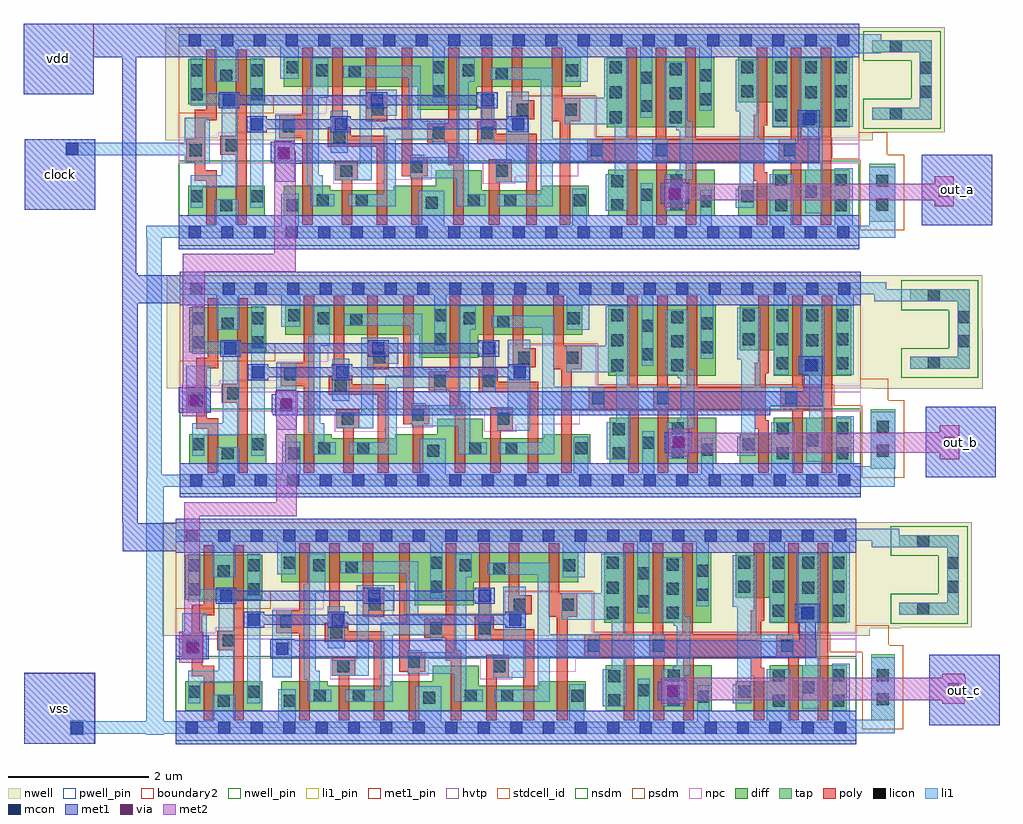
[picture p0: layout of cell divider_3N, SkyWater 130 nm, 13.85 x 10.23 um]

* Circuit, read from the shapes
.subckt divider_3N clock out_a out_b out_c vdd vss
XM1 vss sky130_fd_sc_hd__dfxbp_2_1/CLK n1 vss sky130_fd_pr__nfet_01v8 w=0.42 l=0.15
XM2 vss clock n2 vss sky130_fd_pr__nfet_01v8 w=0.42 l=0.15
XM3 vss sky130_fd_sc_hd__dfxbp_2_2/CLK n3 vss sky130_fd_pr__nfet_01v8 w=0.42 l=0.15
XM4 n4 n1 vss vss sky130_fd_pr__nfet_01v8 w=0.42 l=0.15
XM5 n5 n2 vss vss sky130_fd_pr__nfet_01v8 w=0.42 l=0.15
XM6 n6 n3 vss vss sky130_fd_pr__nfet_01v8 w=0.42 l=0.15
XM7 n7 sky130_fd_sc_hd__dfxbp_2_1/D vss vss sky130_fd_pr__nfet_01v8 w=0.42 l=0.15
XM8 n8 sky130_fd_sc_hd__dfxbp_2_2/CLK vss vss sky130_fd_pr__nfet_01v8 w=0.42 l=0.15
XM9 n9 sky130_fd_sc_hd__dfxbp_2_1/CLK vss vss sky130_fd_pr__nfet_01v8 w=0.42 l=0.15
XM10 n10 n1 n7 vss sky130_fd_pr__nfet_01v8 w=0.36 l=0.15
XM11 n11 n2 n8 vss sky130_fd_pr__nfet_01v8 w=0.36 l=0.15
XM12 n12 n3 n9 vss sky130_fd_pr__nfet_01v8 w=0.36 l=0.15
XM13 n13 n4 n10 vss sky130_fd_pr__nfet_01v8 w=0.36 l=0.15
XM14 n14 n5 n11 vss sky130_fd_pr__nfet_01v8 w=0.36 l=0.15
XM15 n15 n6 n12 vss sky130_fd_pr__nfet_01v8 w=0.36 l=0.15
XM16 vss n16 n13 vss sky130_fd_pr__nfet_01v8 w=0.42 l=0.15
XM17 vss n17 n14 vss sky130_fd_pr__nfet_01v8 w=0.42 l=0.15
XM18 vss n18 n15 vss sky130_fd_pr__nfet_01v8 w=0.42 l=0.15
XM19 n16 n10 vss vss sky130_fd_pr__nfet_01v8 w=0.64 l=0.15
XM20 n17 n11 vss vss sky130_fd_pr__nfet_01v8 w=0.64 l=0.15
XM21 n18 n12 vss vss sky130_fd_pr__nfet_01v8 w=0.64 l=0.15
XM22 n19 n4 n16 vss sky130_fd_pr__nfet_01v8 w=0.36 l=0.15
XM23 n20 n5 n17 vss sky130_fd_pr__nfet_01v8 w=0.36 l=0.15
XM24 n21 n6 n18 vss sky130_fd_pr__nfet_01v8 w=0.36 l=0.15
XM25 n22 n1 n19 vss sky130_fd_pr__nfet_01v8 w=0.36 l=0.15
XM26 n23 n2 n20 vss sky130_fd_pr__nfet_01v8 w=0.36 l=0.15
XM27 n24 n3 n21 vss sky130_fd_pr__nfet_01v8 w=0.36 l=0.15
XM28 vss n25 n22 vss sky130_fd_pr__nfet_01v8 w=0.42 l=0.15
XM29 vss n26 n23 vss sky130_fd_pr__nfet_01v8 w=0.42 l=0.15
XM30 vss n27 n24 vss sky130_fd_pr__nfet_01v8 w=0.42 l=0.15
XM31 vss n19 n25 vss sky130_fd_pr__nfet_01v8 w=0.65 l=0.15
XM32 vss n20 n26 vss sky130_fd_pr__nfet_01v8 w=0.65 l=0.15
XM33 vss n21 n27 vss sky130_fd_pr__nfet_01v8 w=0.65 l=0.15
XM34 out_c n25 vss vss sky130_fd_pr__nfet_01v8 w=0.65 l=0.15 m=2
XM35 out_a n26 vss vss sky130_fd_pr__nfet_01v8 w=0.65 l=0.15 m=2
XM36 out_b n27 vss vss sky130_fd_pr__nfet_01v8 w=0.65 l=0.15 m=2
XM37 vss n25 n28 vss sky130_fd_pr__nfet_01v8 w=0.42 l=0.15
XM38 vss n26 n29 vss sky130_fd_pr__nfet_01v8 w=0.42 l=0.15
XM39 vss n27 n30 vss sky130_fd_pr__nfet_01v8 w=0.42 l=0.15
XM40 sky130_fd_sc_hd__dfxbp_2_1/D n28 vss vss sky130_fd_pr__nfet_01v8 w=0.65 l=0.15 m=2
XM41 sky130_fd_sc_hd__dfxbp_2_2/CLK n29 vss vss sky130_fd_pr__nfet_01v8 w=0.65 l=0.15 m=2
XM42 sky130_fd_sc_hd__dfxbp_2_1/CLK n30 vss vss sky130_fd_pr__nfet_01v8 w=0.65 l=0.15 m=2
XM43 vdd sky130_fd_sc_hd__dfxbp_2_1/CLK n1 vdd sky130_fd_pr__pfet_01v8_hvt w=0.64 l=0.15
XM44 vdd clock n2 vdd sky130_fd_pr__pfet_01v8_hvt w=0.64 l=0.15
XM45 vdd sky130_fd_sc_hd__dfxbp_2_2/CLK n3 vdd sky130_fd_pr__pfet_01v8_hvt w=0.64 l=0.15
XM46 n4 n1 vdd vdd sky130_fd_pr__pfet_01v8_hvt w=0.64 l=0.15
XM47 n5 n2 vdd vdd sky130_fd_pr__pfet_01v8_hvt w=0.64 l=0.15
XM48 n6 n3 vdd vdd sky130_fd_pr__pfet_01v8_hvt w=0.64 l=0.15
XM49 n7 sky130_fd_sc_hd__dfxbp_2_1/D vdd vdd sky130_fd_pr__pfet_01v8_hvt w=0.42 l=0.15
XM50 n8 sky130_fd_sc_hd__dfxbp_2_2/CLK vdd vdd sky130_fd_pr__pfet_01v8_hvt w=0.42 l=0.15
XM51 n9 sky130_fd_sc_hd__dfxbp_2_1/CLK vdd vdd sky130_fd_pr__pfet_01v8_hvt w=0.42 l=0.15
XM52 n10 n4 n7 vdd sky130_fd_pr__pfet_01v8_hvt w=0.42 l=0.15
XM53 n11 n5 n8 vdd sky130_fd_pr__pfet_01v8_hvt w=0.42 l=0.15
XM54 n12 n6 n9 vdd sky130_fd_pr__pfet_01v8_hvt w=0.42 l=0.15
XM55 n31 n1 n10 vdd sky130_fd_pr__pfet_01v8_hvt w=0.42 l=0.15
XM56 n32 n2 n11 vdd sky130_fd_pr__pfet_01v8_hvt w=0.42 l=0.15
XM57 n33 n3 n12 vdd sky130_fd_pr__pfet_01v8_hvt w=0.42 l=0.15
XM58 vdd n16 n31 vdd sky130_fd_pr__pfet_01v8_hvt w=0.42 l=0.15
XM59 vdd n17 n32 vdd sky130_fd_pr__pfet_01v8_hvt w=0.42 l=0.15
XM60 vdd n18 n33 vdd sky130_fd_pr__pfet_01v8_hvt w=0.42 l=0.15
XM61 n16 n10 vdd vdd sky130_fd_pr__pfet_01v8_hvt w=0.75 l=0.15
XM62 n17 n11 vdd vdd sky130_fd_pr__pfet_01v8_hvt w=0.75 l=0.15
XM63 n18 n12 vdd vdd sky130_fd_pr__pfet_01v8_hvt w=0.75 l=0.15
XM64 n19 n1 n16 vdd sky130_fd_pr__pfet_01v8_hvt w=0.42 l=0.15
XM65 n20 n2 n17 vdd sky130_fd_pr__pfet_01v8_hvt w=0.42 l=0.15
XM66 n21 n3 n18 vdd sky130_fd_pr__pfet_01v8_hvt w=0.42 l=0.15
XM67 n34 n4 n19 vdd sky130_fd_pr__pfet_01v8_hvt w=0.42 l=0.15
XM68 n35 n5 n20 vdd sky130_fd_pr__pfet_01v8_hvt w=0.42 l=0.15
XM69 n36 n6 n21 vdd sky130_fd_pr__pfet_01v8_hvt w=0.42 l=0.15
XM70 vdd n25 n34 vdd sky130_fd_pr__pfet_01v8_hvt w=0.42 l=0.15
XM71 vdd n26 n35 vdd sky130_fd_pr__pfet_01v8_hvt w=0.42 l=0.15
XM72 vdd n27 n36 vdd sky130_fd_pr__pfet_01v8_hvt w=0.42 l=0.15
XM73 vdd n19 n25 vdd sky130_fd_pr__pfet_01v8_hvt w=1 l=0.15
XM74 vdd n20 n26 vdd sky130_fd_pr__pfet_01v8_hvt w=1 l=0.15
XM75 vdd n21 n27 vdd sky130_fd_pr__pfet_01v8_hvt w=1 l=0.15
XM76 out_c n25 vdd vdd sky130_fd_pr__pfet_01v8_hvt w=1 l=0.15 m=2
XM77 out_a n26 vdd vdd sky130_fd_pr__pfet_01v8_hvt w=1 l=0.15 m=2
XM78 out_b n27 vdd vdd sky130_fd_pr__pfet_01v8_hvt w=1 l=0.15 m=2
XM79 vdd n25 n28 vdd sky130_fd_pr__pfet_01v8_hvt w=0.64 l=0.15
XM80 vdd n26 n29 vdd sky130_fd_pr__pfet_01v8_hvt w=0.64 l=0.15
XM81 vdd n27 n30 vdd sky130_fd_pr__pfet_01v8_hvt w=0.64 l=0.15
XM82 sky130_fd_sc_hd__dfxbp_2_1/D n28 vdd vdd sky130_fd_pr__pfet_01v8_hvt w=1 l=0.15 m=2
XM83 sky130_fd_sc_hd__dfxbp_2_2/CLK n29 vdd vdd sky130_fd_pr__pfet_01v8_hvt w=1 l=0.15 m=2
XM84 sky130_fd_sc_hd__dfxbp_2_1/CLK n30 vdd vdd sky130_fd_pr__pfet_01v8_hvt w=1 l=0.15 m=2
.ends

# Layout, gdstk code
import gdstk
lib = gdstk.Library(unit=1e-6, precision=1e-09)
def R(c, l, rs):  # rectangles x0, y0, x1, y1
    for r in rs: c.add(gdstk.rectangle(r[:2], r[2:], *l))
def A(c, l, x, y, w, h, nx, ny, dx, dy):  # array of equal rectangles
    R(c, l, [(x+i*dx, y+j*dy, x+i*dx+w, y+j*dy+h) for i in range(nx) for j in range(ny)])
def P(c, l, *ps):  # polygons
    for p in ps: c.add(gdstk.Polygon(p, *l))
nwell_pin = (64, 16)
nwell = (64, 20)
diff = (65, 20)
tap = (65, 44)
poly = (66, 20)
licon = (66, 44)
li1_pin = (67, 16)
li1 = (67, 20)
mcon = (67, 44)
met1_pin = (68, 16)
met1 = (68, 20)
via = (68, 44)
met2 = (69, 20)
hvtp = (78, 44)
stdcell_id = (81, 4)
nsdm = (93, 44)
psdm = (94, 20)
npc = (95, 20)
pwell_pin = (122, 16)
boundary2 = (236, 0)

sky130_fd_sc_hd__dfxbp_2 = lib.new_cell('sky130_fd_sc_hd__dfxbp_2')
R(sky130_fd_sc_hd__dfxbp_2, nwell_pin, [(0.145,2.635,0.315,2.805), (0.145,2.635,0.315,2.805)])
R(sky130_fd_sc_hd__dfxbp_2, nwell, [(-0.19,1.305,9.85,2.91)])
R(sky130_fd_sc_hd__dfxbp_2, diff, [(0.135,0.235,1.225,0.655), (6.1,0.235,7.61,0.885), (6.08,1.485,7.6,2.485), (0.135,1.815,1.225,2.455)])
P(sky130_fd_sc_hd__dfxbp_2, diff, [(5.71,2.485),(1.495,2.485),(1.495,2.065),(3.395,2.065),(3.395,1.735),(4.23,1.735),(4.23,2.065),(5.71,2.065)],
  [(5.82,0.655),(5.16,0.655),(5.16,0.595),(4.3,0.595),(4.3,0.875),(3.65,0.875),(3.65,0.655),(3.055,0.655),(3.055,0.595),(2.155,0.595),(2.155,0.655),(1.495,0.655),(1.495,0.235),(5.82,0.235)],
  [(9.525,2.485),(7.945,2.485),(7.945,1.845),(8.43,1.845),(8.43,1.485),(9.525,1.485)],
  [(9.525,0.885),(8.43,0.885),(8.43,0.655),(7.945,0.655),(7.945,0.235),(9.525,0.235)])
P(sky130_fd_sc_hd__dfxbp_2, poly, [(0.545,0.88),(0.38,0.88),(0.38,1.59),(0.545,1.59),(0.545,2.585),(0.395,2.585),(0.395,1.74),(0.23,1.74),(0.23,1.325),(0.11,1.325),(0.11,0.995),(0.23,0.995),(0.23,0.73),(0.395,0.73),(0.395,0.105),(0.545,0.105)],
  [(0.965,2.585),(0.815,2.585),(0.815,1.37),(0.59,1.37),(0.59,1.1),(0.815,1.1),(0.815,0.105),(0.965,0.105)],
  [(1.905,2.615),(1.755,2.615),(1.755,1.665),(1.43,1.665),(1.43,1.335),(1.755,1.335),(1.755,0.105),(1.905,0.105)],
  [(2.545,1.005),(2.215,1.005),(2.215,0.735),(2.315,0.735),(2.315,0.105),(2.465,0.105),(2.465,0.735),(2.545,0.735)],
  [(2.96,1.905),(2.805,1.905),(2.805,2.615),(2.655,2.615),(2.655,1.575),(2.96,1.575)],
  [(2.96,1.365),(2.445,1.365),(2.445,1.485),(2.33,1.485),(2.33,2.615),(2.18,2.615),(2.18,1.485),(2.115,1.485),(2.115,1.215),(2.81,1.215),(2.81,0.105),(2.96,0.105)],
  [(3.54,1.065),(3.32,1.065),(3.32,2.615),(3.17,2.615),(3.17,0.795),(3.305,0.795),(3.305,0.105),(3.455,0.105),(3.455,0.795),(3.54,0.795)],
  [(4.05,1.1),(3.98,1.1),(3.98,2.615),(3.83,2.615),(3.83,1.545),(3.53,1.545),(3.53,1.275),(3.83,1.275),(3.83,0.95),(3.9,0.95),(3.9,0.105),(4.05,0.105)],
  [(4.725,1.035),(4.405,1.035),(4.405,0.105),(4.555,0.105),(4.555,0.705),(4.725,0.705)],
  [(5.05,1.875),(4.875,1.875),(4.875,2.615),(4.725,2.615),(4.725,1.875),(4.72,1.875),(4.72,1.605),(5.05,1.605)],
  [(5.085,1.395),(4.51,1.395),(4.51,1.575),(4.455,1.575),(4.455,2.615),(4.305,2.615),(4.305,1.575),(4.24,1.575),(4.24,1.245),(4.935,1.245),(4.935,0.105),(5.085,0.105)],
  [(5.7,1.905),(5.445,1.905),(5.445,2.615),(5.295,2.615),(5.295,1.575),(5.41,1.575),(5.41,0.105),(5.56,0.105),(5.56,1.575),(5.7,1.575)],
  [(6.51,1.325),(6.5,1.325),(6.5,2.615),(6.35,2.615),(6.35,1.325),(5.8,1.325),(5.8,0.995),(6.36,0.995),(6.36,0.105),(6.51,0.105)],
  [(8.355,0.85),(8.31,0.85),(8.31,1.515),(8.355,1.515),(8.355,2.615),(8.205,2.615),(8.205,1.665),(8.16,1.665),(8.16,1.325),(7.34,1.325),(7.34,2.615),(7.19,2.615),(7.19,1.325),(6.92,1.325),(6.92,2.615),(6.77,2.615),(6.77,1.325),(6.72,1.325),(6.72,0.995),(6.78,0.995),(6.78,0.105),(6.93,0.105),(6.93,0.995),(7.2,0.995),(7.2,0.105),(7.35,0.105),(7.35,0.995),(8.16,0.995),(8.16,0.73),(8.205,0.73),(8.205,0.105),(8.355,0.105)],
  [(9.26,2.615),(9.11,2.615),(9.11,1.325),(8.84,1.325),(8.84,2.615),(8.69,2.615),(8.69,1.325),(8.52,1.325),(8.52,0.995),(8.69,0.995),(8.69,0.105),(8.84,0.105),(8.84,0.995),(9.11,0.995),(9.11,0.105),(9.26,0.105)])
A(sky130_fd_sc_hd__dfxbp_2, licon, 6.12, 1.545, 0.17, 0.17, 1, 3, 0, 0.355)
A(sky130_fd_sc_hd__dfxbp_2, licon, 6.97, 1.545, 0.17, 0.17, 1, 3, 0, 0.34)
A(sky130_fd_sc_hd__dfxbp_2, licon, 8.89, 1.545, 0.17, 0.17, 1, 3, 0, 0.355)
A(sky130_fd_sc_hd__dfxbp_2, licon, 8.47, 1.575, 0.17, 0.17, 1, 3, 0, 0.34)
A(sky130_fd_sc_hd__dfxbp_2, licon, 9.315, 1.575, 0.17, 0.17, 1, 3, 0, 0.34)
R(sky130_fd_sc_hd__dfxbp_2, licon, [(0.595,0.295,0.765,0.465), (1.535,0.295,1.705,0.465), (8.47,0.295,8.64,0.465), (9.315,0.295,9.485,0.465), (6.14,0.3,6.31,0.47), (6.98,0.31,7.15,0.48), (3.51,0.335,3.68,0.505), (7.4,0.35,7.57,0.52), (1.96,0.365,2.13,0.535), (2.515,0.365,2.685,0.535), (4.105,0.365,4.275,0.535), (4.62,0.365,4.79,0.535), (5.61,0.365,5.78,0.535), (0.175,0.425,0.345,0.595), (1.015,0.425,1.185,0.595), (7.985,0.425,8.155,0.595), (6.56,0.445,6.73,0.615), (8.89,0.485,9.06,0.655), (6.14,0.64,6.31,0.81), (6.98,0.65,7.15,0.82), (8.47,0.655,8.64,0.825), (9.315,0.655,9.485,0.825), (2.295,0.785,2.465,0.955), (4.505,0.785,4.675,0.955), (3.29,0.845,3.46,1.015), (0.16,1.075,0.33,1.245), (5.85,1.075,6.02,1.245), (6.77,1.075,6.94,1.245), (8.59,1.075,8.76,1.245), (0.67,1.15,0.84,1.32), (2.195,1.265,2.365,1.435), (3.61,1.325,3.78,1.495), (4.29,1.325,4.46,1.495), (1.48,1.415,1.65,1.585), (2.74,1.655,2.91,1.825), (4.8,1.655,4.97,1.825), (5.48,1.655,5.65,1.825), (6.55,1.705,6.72,1.875), (7.39,1.8,7.56,1.97), (0.175,1.875,0.345,2.045), (1.015,1.875,1.185,2.045), (3.61,1.915,3.78,2.085), (7.985,1.915,8.155,2.085), (6.55,2.105,6.72,2.275), (0.595,2.135,0.765,2.305), (7.39,2.14,7.56,2.31), (4.505,2.165,4.675,2.335), (2.415,2.19,2.585,2.36), (0.175,2.215,0.345,2.385), (1.015,2.215,1.185,2.385), (1.955,2.215,2.125,2.385), (4.03,2.215,4.2,2.385), (5.5,2.215,5.67,2.385), (1.535,2.255,1.705,2.425), (3.61,2.255,3.78,2.425), (7.985,2.255,8.155,2.425)])
R(sky130_fd_sc_hd__dfxbp_2, li1_pin, [(6.95,0.425,7.12,0.595), (0.145,1.105,0.315,1.275), (1.445,1.105,1.615,1.275), (8.845,1.52,9.015,1.69)])
R(sky130_fd_sc_hd__dfxbp_2, li1, [(1.015,0.345,1.2,2.465), (1.37,0.715,1.65,1.665), (0.09,0.975,0.44,1.625), (2.16,1.125,2.4,1.72), (4.29,1.245,4.48,1.965)])
P(sky130_fd_sc_hd__dfxbp_2, li1, [(0.84,1.965),(0.345,1.965),(0.345,2.465),(0.175,2.465),(0.175,1.795),(0.61,1.795),(0.61,0.805),(0.175,0.805),(0.175,0.345),(0.345,0.345),(0.345,0.635),(0.84,0.635)],
  [(2.21,0.535),(2.045,0.535),(2.045,0.805),(1.99,0.805),(1.99,1.91),(2.125,1.91),(2.125,2.465),(1.875,2.465),(1.875,2.04),(1.82,2.04),(1.82,0.675),(1.875,0.675),(1.875,0.365),(2.21,0.365)],
  [(3.1,2.02),(2.57,2.02),(2.57,0.955),(2.215,0.955),(2.215,0.735),(2.74,0.735),(2.74,1.655),(3.1,1.655)],
  [(3.78,1.575),(3.44,1.575),(3.44,2.36),(2.335,2.36),(2.335,2.19),(3.27,2.19),(3.27,1.485),(2.91,1.485),(2.91,0.535),(2.405,0.535),(2.405,0.365),(3.08,0.365),(3.08,1.315),(3.61,1.315),(3.61,1.245),(3.78,1.245)],
  [(4.355,0.535),(4.12,0.535),(4.12,2.135),(4.2,2.135),(4.2,2.465),(3.95,2.465),(3.95,1.065),(3.49,1.065),(3.49,1.095),(3.29,1.095),(3.29,0.765),(3.95,0.765),(3.95,0.365),(4.355,0.365)],
  [(4.97,1.995),(4.65,1.995),(4.65,1.035),(4.505,1.035),(4.505,0.705),(4.97,0.705)],
  [(6.02,1.325),(5.31,1.325),(5.31,2.335),(4.425,2.335),(4.425,2.165),(5.14,2.165),(5.14,0.535),(4.525,0.535),(4.525,0.365),(5.31,0.365),(5.31,0.995),(6.02,0.995)],
  [(9.66,0.085),(9.565,0.085),(9.565,0.905),(9.315,0.905),(9.315,0.085),(8.72,0.085),(8.72,0.825),(8.39,0.825),(8.39,0.085),(7.57,0.085),(7.57,0.6),(7.4,0.6),(7.4,0.085),(6.73,0.085),(6.73,0.695),(6.56,0.695),(6.56,0.085),(5.795,0.085),(5.795,0.615),(5.585,0.615),(5.585,0.085),(3.77,0.085),(3.77,0.585),(3.4,0.585),(3.4,0.085),(1.705,0.085),(1.705,0.545),(1.455,0.545),(1.455,0.085),(0.845,0.085),(0.845,0.465),(0.515,0.465),(0.515,0.085),(0,0.085),(0,-0.085),(9.66,-0.085)],
  [(6.94,1.325),(6.38,1.325),(6.38,2.465),(6.04,2.465),(6.04,1.905),(5.48,1.905),(5.48,1.53),(6.19,1.53),(6.19,0.825),(6.06,0.825),(6.06,0.3),(6.39,0.3),(6.39,0.995),(6.94,0.995)],
  [(7.3,1.575),(7.22,1.575),(7.22,2.42),(6.89,2.42),(6.89,1.495),(7.065,1.495),(7.065,1.445),(7.11,1.445),(7.11,0.865),(7.055,0.865),(7.055,0.825),(6.9,0.825),(6.9,0.305),(7.23,0.305),(7.23,0.74),(7.3,0.74)],
  [(8.76,1.325),(8.235,1.325),(8.235,2.445),(7.905,2.445),(7.905,1.715),(7.965,1.715),(7.965,0.615),(7.905,0.615),(7.905,0.345),(8.165,0.345),(8.165,0.995),(8.76,0.995)],
  [(9.145,2.465),(8.81,2.465),(8.81,1.495),(8.93,1.495),(8.93,0.885),(8.89,0.885),(8.89,0.265),(9.145,0.265)],
  [(9.66,2.805),(0,2.805),(0,2.635),(0.515,2.635),(0.515,2.135),(0.845,2.135),(0.845,2.635),(1.44,2.635),(1.44,2.175),(1.705,2.175),(1.705,2.635),(3.61,2.635),(3.61,1.835),(3.78,1.835),(3.78,2.635),(5.49,2.635),(5.49,2.135),(5.805,2.135),(5.805,2.635),(6.55,2.635),(6.55,1.625),(6.72,1.625),(6.72,2.635),(7.39,2.635),(7.39,1.72),(7.565,1.72),(7.565,2.635),(8.425,2.635),(8.425,1.495),(8.64,1.495),(8.64,2.635),(9.315,2.635),(9.315,1.495),(9.565,1.495),(9.565,2.635),(9.66,2.635)])
A(sky130_fd_sc_hd__dfxbp_2, mcon, 0.145, -0.085, 0.17, 0.17, 21, 2, 0.46, 2.72)
R(sky130_fd_sc_hd__dfxbp_2, mcon, [(1.025,1.445,1.195,1.615), (2.215,1.445,2.385,1.615), (4.735,1.445,4.905,1.615), (0.63,1.785,0.8,1.955), (2.73,1.785,2.9,1.955), (4.3,1.785,4.47,1.955)])
R(sky130_fd_sc_hd__dfxbp_2, met1_pin, [(0.145,-0.085,0.315,0.085), (0.145,2.635,0.315,2.805)])
R(sky130_fd_sc_hd__dfxbp_2, met1, [(0,-0.24,9.66,0.24), (0,2.48,9.66,2.96)])
P(sky130_fd_sc_hd__dfxbp_2, met1, [(4.53,1.985),(4.24,1.985),(4.24,1.94),(2.96,1.94),(2.96,1.985),(2.67,1.985),(2.67,1.94),(0.86,1.94),(0.86,1.985),(0.57,1.985),(0.57,1.755),(0.86,1.755),(0.86,1.8),(2.67,1.8),(2.67,1.755),(2.96,1.755),(2.96,1.8),(4.24,1.8),(4.24,1.755),(4.53,1.755)],
  [(4.965,1.645),(4.675,1.645),(4.675,1.6),(2.445,1.6),(2.445,1.645),(2.155,1.645),(2.155,1.6),(1.255,1.6),(1.255,1.645),(0.965,1.645),(0.965,1.415),(1.255,1.415),(1.255,1.46),(2.155,1.46),(2.155,1.415),(2.445,1.415),(2.445,1.46),(4.675,1.46),(4.675,1.415),(4.965,1.415)])
R(sky130_fd_sc_hd__dfxbp_2, hvtp, [(0,1.25,9.66,2.72)])
R(sky130_fd_sc_hd__dfxbp_2, stdcell_id, [(0,0,9.66,2.72)])
R(sky130_fd_sc_hd__dfxbp_2, nsdm, [(0,-0.19,9.66,1.015)])
P(sky130_fd_sc_hd__dfxbp_2, psdm, [(9.66,2.91),(0,2.91),(0,1.685),(1.35,1.685),(1.35,1.935),(3.24,1.935),(3.24,1.605),(4.665,1.605),(4.665,1.935),(5.93,1.935),(5.93,1.355),(9.66,1.355)])
P(sky130_fd_sc_hd__dfxbp_2, npc, [(9.66,1.345),(5.91,1.345),(5.91,1.925),(4.675,1.925),(4.675,1.595),(3.085,1.595),(3.085,1.925),(2.095,1.925),(2.095,1.685),(1.38,1.685),(1.38,1.42),(0.565,1.42),(0.565,1.345),(0,1.345),(0,0.975),(2.195,0.975),(2.195,0.685),(2.905,0.685),(2.905,0.745),(3.59,0.745),(3.59,0.975),(4.32,0.975),(4.32,0.685),(4.775,0.685),(4.775,0.795),(5.675,0.795),(5.675,0.975),(9.66,0.975)])
R(sky130_fd_sc_hd__dfxbp_2, pwell_pin, [(0.145,-0.085,0.315,0.085), (0.145,-0.085,0.315,0.085)])
R(sky130_fd_sc_hd__dfxbp_2, boundary2, [(0,0,9.66,2.72)])
sky130_fd_sc_hd__dfxbp_2.add(gdstk.Label('VGND', (0.23,0), layer=68, texttype=5))
sky130_fd_sc_hd__dfxbp_2.add(gdstk.Label('VPWR', (0.23,2.72), layer=68, texttype=5))
sky130_fd_sc_hd__dfxbp_2.add(gdstk.Label('Q_N', (8.94,1.61), layer=67, texttype=5))
sky130_fd_sc_hd__dfxbp_2.add(gdstk.Label('D', (1.535,1.19), layer=67, texttype=5))
sky130_fd_sc_hd__dfxbp_2.add(gdstk.Label('CLK', (0.23,1.19), layer=67, texttype=5))
sky130_fd_sc_hd__dfxbp_2.add(gdstk.Label('Q', (7.035,0.51), layer=67, texttype=5))
sky130_fd_sc_hd__dfxbp_2.add(gdstk.Label('VNB', (0.23,0), layer=64, texttype=59))
sky130_fd_sc_hd__dfxbp_2.add(gdstk.Label('VNB', (0.23,0), layer=64, texttype=59))
sky130_fd_sc_hd__dfxbp_2.add(gdstk.Label('VPB', (0.23,2.72), layer=64, texttype=5))
sky130_fd_sc_hd__dfxbp_2.add(gdstk.Label('VPB', (0.23,2.72), layer=64, texttype=5))
sky130_fd_sc_hd__dfxbp_2.add(gdstk.Label('dfxbp_2', (0,0), layer=83, texttype=44))

divider_3n = lib.new_cell('divider_3N')
R(divider_3n, nwell, [(19.94,-6.53,20.39,-6.52), (19.94,-6.52,21.395,-5.03), (20,-3.13,21.55,-3.01), (19.91,-3.01,21.55,-2.29), (19.91,-2.29,21.545,-1.52), (19.985,0.505,21.01,1.995)])
R(divider_3n, tap, [(19.97,-7.84,20.3,-6.9), (20.37,-6.34,21.215,-6.17), (21.045,-6.17,21.215,-5.38), (20.37,-5.38,21.215,-5.21), (19.96,-4.27,20.31,-3.42), (20.52,-2.85,21.365,-2.68), (21.195,-2.68,21.365,-1.89), (20.52,-1.89,21.365,-1.72), (19.94,-0.76,20.31,0.06), (19.985,0.685,20.83,0.855), (20.66,0.855,20.83,1.645), (19.985,1.645,20.83,1.815)])
R(divider_3n, licon, [(20.05,-7.625,20.22,-7.455), (20.05,-7.285,20.22,-7.115), (20.62,-6.34,20.79,-6.17), (21.045,-6.03,21.215,-5.86), (21.045,-5.69,21.215,-5.52), (20.62,-5.38,20.79,-5.21), (20.05,-4.1,20.22,-3.93), (20.05,-3.76,20.22,-3.59), (20.77,-2.85,20.94,-2.68), (21.195,-2.54,21.365,-2.37), (21.195,-2.2,21.365,-2.03), (20.77,-1.89,20.94,-1.72), (20.04,-0.605,20.21,-0.435), (20.04,-0.265,20.21,-0.095), (20.235,0.685,20.405,0.855), (20.66,0.995,20.83,1.165), (20.66,1.335,20.83,1.505), (20.235,1.645,20.405,1.815)])
R(divider_3n, li1, [(8.6,-8.04,8.81,-8.03), (9.68,-8.04,9.93,-8.03), (8.6,-8.03,10.82,-7.85), (19.64,-8.02,20.3,-7.83), (8.6,-7.85,8.81,-7.84), (9.68,-7.85,9.93,-4.52), (19.97,-7.83,20.3,-6.94), (17.05,-7.56,17.28,-7.33), (10.19,-6.94,10.51,-6.67), (11.51,-6.92,11.72,-6.72), (18.95,-6.42,19.18,-6.21), (20.37,-6.34,21.215,-6.17), (21.045,-6.17,21.215,-5.38), (19.98,-5.38,21.215,-5.29), (19.75,-5.29,21.215,-5.21), (19.75,-5.21,20.37,-5.14), (19.59,-5.14,20.37,-5.12), (9.68,-4.52,10.87,-4.4), (19.71,-4.52,20.3,-4.23), (9.69,-4.4,10.87,-4.35), (9.69,-4.35,9.9,-0.99), (19.96,-4.23,20.31,-3.46), (17.12,-4.01,17.35,-3.78), (11.54,-3.48,11.8,-3.25), (10.26,-3.44,10.54,-3.16), (19,-2.9,19.22,-2.7), (20.52,-2.85,21.365,-2.68), (21.195,-2.68,21.365,-1.89), (20.01,-1.89,21.365,-1.79), (19.72,-1.79,21.365,-1.72), (19.72,-1.72,20.18,-1.62), (9.68,-0.99,10.86,-0.82), (19.79,-0.99,20.31,-0.9), (19.7,-0.9,20.31,-0.82), (19.94,-0.82,20.31,0.02), (17.07,-0.48,17.3,-0.25), (11.52,0.11,11.74,0.31), (8.54,0.18,10.47,0.36), (18.99,0.6,19.18,0.79), (19.985,0.685,20.83,0.855), (20.66,0.855,20.83,1.645), (19.7,1.63,20.11,1.645), (19.7,1.645,20.83,1.815), (19.7,1.815,20.11,1.9)])
R(divider_3n, mcon, [(8.62,-8.025,8.79,-7.855), (17.08,-7.51,17.25,-7.34), (11.53,-6.905,11.7,-6.735), (10.265,-6.89,10.435,-6.72), (18.98,-6.4,19.15,-6.23), (17.15,-3.98,17.32,-3.81), (11.585,-3.45,11.755,-3.28), (10.315,-3.385,10.485,-3.215), (19.025,-2.885,19.195,-2.715), (17.1,-0.45,17.27,-0.28), (11.545,0.125,11.715,0.295), (8.545,0.185,8.715,0.355), (19,0.61,19.17,0.78)])
R(divider_3n, met1_pin, [(7.95,-8.17,8.95,-7.17), (20.79,-7.91,21.79,-6.91), (20.74,-4.39,21.74,-3.39), (20.69,-0.81,21.69,0.19), (7.96,-0.59,8.96,0.41), (7.94,1.05,8.94,2.05)])
R(divider_3n, met1, [(7.95,-8.17,8.96,-7.16), (20.79,-7.91,21.79,-6.91), (16.94,-7.55,17.36,-7.29), (16.99,-7.29,17.34,-7.26), (10.1,-6.97,10.57,-6.64), (11.44,-6.96,18.34,-6.95), (11.44,-6.95,19.19,-6.71), (11.44,-6.71,18.34,-6.7), (18.95,-6.71,19.18,-6.45), (11.45,-6.7,11.78,-6.69), (10.1,-6.64,10.54,-6.63), (18.89,-6.45,19.24,-6.18), (9.35,-5.44,10.73,-5.04), (9.35,-5.04,9.56,-5.03), (9.34,-5.03,9.56,-1.92), (20.74,-4.39,21.74,-3.39), (17.04,-4.04,17.43,-3.75), (11.48,-3.51,18.54,-3.47), (10.14,-3.47,10.6,-3.13), (11.46,-3.47,18.54,-3.38), (11.46,-3.38,19.28,-3.21), (11.53,-3.21,19.28,-3.17), (11.53,-3.17,11.8,-3.15), (19.01,-3.17,19.27,-2.93), (10.14,-3.13,10.56,-3.11), (18.94,-2.93,19.28,-2.67), (9.34,-1.92,10.63,-1.52), (9.34,-1.52,9.56,-1.49), (9.34,-1.49,9.54,1.57), (20.69,-0.81,21.69,0.19), (7.96,-0.59,8.96,0.41), (16.98,-0.51,17.39,-0.21), (11.74,0.06,11.88,0.07), (11.47,0.07,19.23,0.08), (11.45,0.08,19.23,0.35), (11.45,0.35,11.74,0.37), (18.93,0.35,19.23,0.57), (18.93,0.57,19.24,0.82), (7.94,1.05,8.94,1.57), (7.94,1.57,10.28,2.05)])
R(divider_3n, via, [(17.075,-7.495,17.225,-7.345), (21.065,-7.465,21.215,-7.315), (10.245,-6.875,10.395,-6.725), (17.16,-3.97,17.31,-3.82), (21.005,-3.965,21.155,-3.815), (11.595,-3.415,11.745,-3.265), (10.275,-3.365,10.425,-3.215), (17.11,-0.435,17.26,-0.285), (20.93,-0.405,21.08,-0.255), (11.57,0.135,11.72,0.285)])
R(divider_3n, met2, [(16.99,-7.6,17.31,-7.55), (20.98,-7.6,21.3,-7.55), (16.99,-7.55,21.31,-7.23), (20.98,-7.23,21.3,-7.18), (10.15,-7.02,10.49,-6.58), (10.22,-6.58,10.44,-4.94), (10.22,-4.94,11.82,-4.74), (11.53,-4.74,11.82,-3.52), (20.94,-4.13,21.22,-4.04), (17.09,-4.09,17.38,-4.04), (17.09,-4.04,21.22,-3.76), (17.09,-3.76,17.38,-3.7), (20.45,-3.76,21.22,-3.75), (20.94,-3.75,21.22,-3.65), (10.19,-3.52,10.51,-3.06), (11.51,-3.52,11.83,-3.16), (10.2,-3.06,10.51,-1.47), (10.2,-1.47,11.8,-1.22), (11.5,-1.22,11.8,0.24), (17.03,-0.56,17.34,-0.46), (20.87,-0.54,21.14,-0.46), (17.03,-0.46,21.14,-0.22), (17.03,-0.22,17.34,-0.16), (20.87,-0.22,21.14,-0.12), (11.5,0.24,11.79,0.39)])
R(divider_3n, nsdm, [(20.245,-6.465,21.34,-6.045), (20.92,-6.045,21.34,-5.505), (20.245,-5.505,21.34,-5.085), (20.395,-2.975,21.49,-2.555), (21.07,-2.555,21.49,-2.015), (20.395,-2.015,21.49,-1.595), (19.86,0.56,20.955,0.98), (20.535,0.98,20.955,1.52), (19.86,1.52,20.955,1.94)])
R(divider_3n, psdm, [(19.845,-7.965,20.425,-6.87), (19.38,-6.87,20.425,-6.775), (19.38,-6.775,20.215,-6.58), (19.75,-6.58,20.215,-6.485), (19.835,-4.395,20.435,-3.375), (19.435,-3.375,20.435,-3.295), (19.435,-3.295,20.21,-3.07), (19.81,-3.07,20.21,-2.99), (19.815,-0.885,20.435,0.125), (19.41,0.125,20.435,0.185), (19.41,0.185,20.195,0.45), (19.79,0.45,20.195,0.51)])
divider_3n.add(gdstk.Reference(sky130_fd_sc_hd__dfxbp_2, (10.14,-0.91)))
divider_3n.add(gdstk.Reference(sky130_fd_sc_hd__dfxbp_2, (10.1,-7.94)))
divider_3n.add(gdstk.Reference(sky130_fd_sc_hd__dfxbp_2, (10.16,-4.43)))
divider_3n.add(gdstk.Label('clock', (8.46,-0.09), layer=68, texttype=5))
divider_3n.add(gdstk.Label('out_a', (21.19,-0.31), layer=68, texttype=5))
divider_3n.add(gdstk.Label('out_b', (21.24,-3.89), layer=68, texttype=5))
divider_3n.add(gdstk.Label('out_c', (21.29,-7.41), layer=68, texttype=5))
divider_3n.add(gdstk.Label('vdd', (8.44,1.55), layer=68, texttype=5))
divider_3n.add(gdstk.Label('vss', (8.45,-7.67), layer=68, texttype=5))

lib.write_gds('divider_3N.gds')
